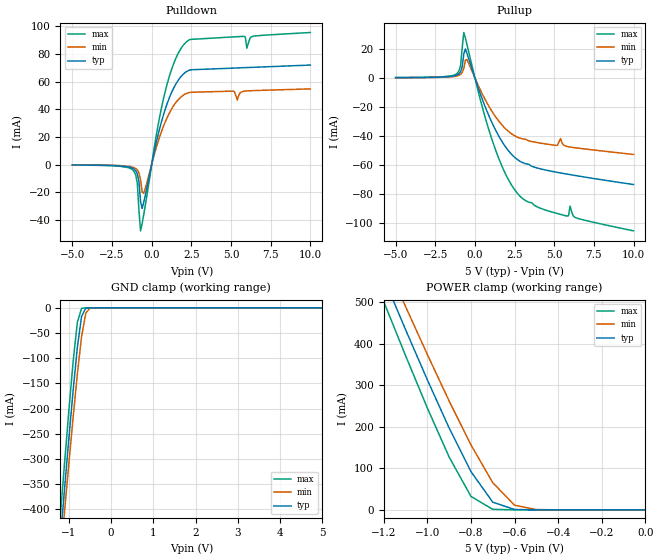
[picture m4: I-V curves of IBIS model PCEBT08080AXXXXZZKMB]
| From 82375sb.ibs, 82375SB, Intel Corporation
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[Model]   PCEBT08080AXXXXZZKMB
Model_type   3-state
|   typ   min   max
C_comp   1.50pF   0.81pF   2.79pF
[Voltage range]   5.000V   4.750V   5.250V
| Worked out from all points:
|   slope of the pulldown table from 0 to 0.75 V, typ, clamps not added: 20.8 ohm
|   slope of the pullup table from 0 to 0.75 V, typ, clamps not added: 33 ohm
|   GND clamp passes 1 mA (typ) near -0.60 V on its own axis
|   POWER clamp passes 1 mA (typ) near -0.60 V on its own axis
[Pulldown]
|   Voltage   I(typ)   I(min)   I(max)
-5V       -301.3uA   -247.4uA   -364.1uA
-1.2V     -2.71mA    -1.92mA    -3.91mA
-900mV    -6.9mA     -4.02mA    -13.92mA
-700mV    -26.69mA   -10.98mA   -47.97mA
-500mV    -27.35mA   -20.86mA   -36.16mA
700mV     34.16mA    26.34mA    45.26mA
2V        65.4mA     50.17mA    86.33mA
5.4V      69.82mA    46.57mA    92.42mA
5.8V      70mA       52.95mA    92.68mA
6V        70.09mA    53.2mA     84.12mA
6.4V      70.28mA    53.43mA    92.74mA
10V       71.91mA    54.68mA    95.45mA
[GND_clamp]
|   Voltage   I(typ)   I(min)   I(max)
-5V       -4.47A     -4.31A     -4.64A
-1.2V     -456.5mA   -497mA     -410.3mA
-1.15V    -406.5mA   -449.4mA   -357.7mA
-1.1V     -356.4mA   -401.8mA   -305.2mA
-1V       -258.5mA   -308.4mA   -203.1mA
-900mV    -164.5mA   -217.7mA   -107.2mA
-800mV    -78.97mA   -132mA     -29.03mA
-700mV    -17.16mA   -57.25mA   -1.18mA
-600mV    -818.1uA   -10.58mA   -17.93uA
-500mV    -23.4uA    -640.1uA   -275.3nA
5V        78.54pA    274nA      55.21pA
[Pullup]
|   Voltage   I(typ)   I(min)   I(max)
-5V       194.1uA    155.6uA    242.2uA
-1.2V     1.72mA     1.19mA     2.53mA
-900mV    4.31mA     2.49mA     8.65mA
-700mV    16.68mA    6.77mA     31.41mA
-500mV    16.94mA    12.65mA    23.02mA
1.1V      -31.52mA   -23.53mA   -43.39mA
2.7V      -56.61mA   -41.07mA   -80.04mA
4.5V      -63.77mA   -45.71mA   -91.52mA
5.9V      -66.67mA   -47.6mA    -95.32mA
6V        -66.87mA   -47.79mA   -88.67mA
6.4V      -67.61mA   -48.4mA    -96.83mA
10V       -73.72mA   -52.92mA   -105.7mA
[POWER_clamp]
|   Voltage   I(typ)   I(min)   I(max)
-5V       5.54A      5.33A      5.74A
-1.2V     558.6mA    608.1mA    502mA
-1.15V    496.6mA    549.1mA    437mA
-1.1V     434.6mA    490.2mA    371.9mA
-1.05V    374mA      432.3mA    308.8mA
-1V       313.4mA    374.5mA    245.6mA
-900mV    197.3mA    262.3mA    127.3mA
-800mV    92.17mA    156.6mA    32.38mA
-700mV    18.49mA    65.49mA    1.19mA
-600mV    820.1uA    11.11mA    17.65uA
-500mV    23.1uA     640.4uA    252.3nA
0V        -48.81pA   606.8pA    -34.6pA
[Ramp]
|   typ   min   max
dV/dt_r   1.59V/401.82ps   1.28V/557.19ps   1.95V/270.04ps
dV/dt_f   1.89V/1.01ns   1.59V/1.26ns   2.21V/574.27ps
